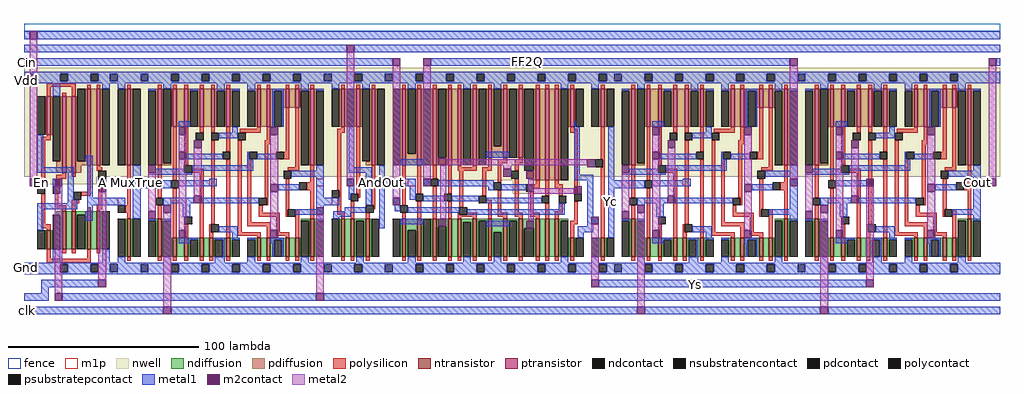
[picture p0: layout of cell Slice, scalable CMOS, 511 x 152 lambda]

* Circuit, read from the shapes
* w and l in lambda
.subckt Slice A AndOut B Cin Cout En FF1Q FF2Q Gnd MuxTrue Vdd Yc Ys clk
M1 Gnd En n1 Gnd nfet w=10 l=2
M2 n2 FF1Q Gnd Gnd nfet w=20 l=2
M3 n3 n1 n2 Gnd nfet w=20 l=2
M4 n4 En n3 Gnd nfet w=20 l=2
M5 Gnd A n4 Gnd nfet w=20 l=2
M6 MuxTrue n3 Gnd Gnd nfet w=20 l=2
M7 Gnd clk n5 Gnd nfet w=20 l=2
M8 n6 MuxTrue Gnd Gnd nfet w=10 l=2
M9 n7 clk n6 Gnd nfet w=10 l=2
M10 n8 n5 n7 Gnd nfet w=10 l=2
M11 Gnd n9 n8 Gnd nfet w=10 l=2
M12 n9 n7 Gnd Gnd nfet w=10 l=2
M13 n10 n9 Gnd Gnd nfet w=10 l=2
M14 n11 n5 n10 Gnd nfet w=10 l=2
M15 n12 clk n11 Gnd nfet w=10 l=2
M16 Gnd FF1Q n12 Gnd nfet w=10 l=2
M17 FF1Q n11 Gnd Gnd nfet w=20 l=2
M18 n13 FF1Q n14 Gnd nfet w=20 l=2
M19 Gnd B n13 Gnd nfet w=20 l=2
M20 AndOut n14 Gnd Gnd nfet w=20 l=2
M21 Gnd Cin n15 Gnd nfet w=20 l=2
M22 n15 AndOut Gnd Gnd nfet w=20 l=2
M23 n16 FF2Q n15 Gnd nfet w=20 l=2
M24 n17 AndOut n16 Gnd nfet w=20 l=2
M25 Gnd Cin n17 Gnd nfet w=20 l=2
M26 n18 Cin Gnd Gnd nfet w=20 l=2
M27 Gnd AndOut n18 Gnd nfet w=20 l=2
M28 n18 FF2Q Gnd Gnd nfet w=20 l=2
M29 n19 n16 n18 Gnd nfet w=20 l=2
M30 n20 FF2Q n19 Gnd nfet w=20 l=2
M31 n21 AndOut n20 Gnd nfet w=20 l=2
M32 Gnd Cin n21 Gnd nfet w=20 l=2
M33 Ys n19 Gnd Gnd nfet w=10 l=2
M34 Yc n16 Gnd Gnd nfet w=10 l=2
M35 Gnd clk n22 Gnd nfet w=20 l=2
M36 n23 Yc Gnd Gnd nfet w=10 l=2
M37 n24 clk n23 Gnd nfet w=10 l=2
M38 n25 n22 n24 Gnd nfet w=10 l=2
M39 Gnd n26 n25 Gnd nfet w=10 l=2
M40 n26 n24 Gnd Gnd nfet w=10 l=2
M41 n27 n26 Gnd Gnd nfet w=10 l=2
M42 n28 n22 n27 Gnd nfet w=10 l=2
M43 n29 clk n28 Gnd nfet w=10 l=2
M44 Gnd FF2Q n29 Gnd nfet w=10 l=2
M45 FF2Q n28 Gnd Gnd nfet w=20 l=2
M46 Gnd clk n30 Gnd nfet w=20 l=2
M47 n31 Ys Gnd Gnd nfet w=10 l=2
M48 n32 clk n31 Gnd nfet w=10 l=2
M49 n33 n30 n32 Gnd nfet w=10 l=2
M50 Gnd n34 n33 Gnd nfet w=10 l=2
M51 n34 n32 Gnd Gnd nfet w=10 l=2
M52 n35 n34 Gnd Gnd nfet w=10 l=2
M53 n36 n30 n35 Gnd nfet w=10 l=2
M54 n37 clk n36 Gnd nfet w=10 l=2
M55 Gnd Cout n37 Gnd nfet w=10 l=2
M56 Cout n36 Gnd Gnd nfet w=20 l=2
M57 Vdd En n1 Vdd pfet w=20 l=2
M58 n38 FF1Q Vdd Vdd pfet w=40 l=2
M59 n3 En n38 Vdd pfet w=40 l=2
M60 n39 n1 n3 Vdd pfet w=40 l=2
M61 Vdd A n39 Vdd pfet w=40 l=2
M62 MuxTrue n3 Vdd Vdd pfet w=40 l=2
M63 Vdd clk n5 Vdd pfet w=40 l=2
M64 n40 MuxTrue Vdd Vdd pfet w=20 l=2
M65 n7 n5 n40 Vdd pfet w=20 l=2
M66 n41 clk n7 Vdd pfet w=20 l=2
M67 Vdd n9 n41 Vdd pfet w=20 l=2
M68 n9 n7 Vdd Vdd pfet w=20 l=2
M69 n42 n9 Vdd Vdd pfet w=20 l=2
M70 n11 clk n42 Vdd pfet w=20 l=2
M71 n43 n5 n11 Vdd pfet w=10 l=2
M72 Vdd FF1Q n43 Vdd pfet w=10 l=2
M73 FF1Q n11 Vdd Vdd pfet w=40 l=2
M74 n14 FF1Q Vdd Vdd pfet w=20 l=2
M75 Vdd B n14 Vdd pfet w=20 l=2
M76 AndOut n14 Vdd Vdd pfet w=40 l=2
M77 Vdd Cin n44 Vdd pfet w=40 l=2
M78 n44 AndOut Vdd Vdd pfet w=40 l=2
M79 n16 FF2Q n44 Vdd pfet w=40 l=2
M80 n45 AndOut n16 Vdd pfet w=40 l=2
M81 Vdd Cin n45 Vdd pfet w=40 l=2
M82 n46 Cin Vdd Vdd pfet w=40 l=2
M83 Vdd AndOut n46 Vdd pfet w=36 l=2
M84 n46 FF2Q Vdd Vdd pfet w=36 l=2
M85 n19 n16 n46 Vdd pfet w=36 l=2
M86 n47 FF2Q n19 Vdd pfet w=48 l=2
M87 n48 AndOut n47 Vdd pfet w=48 l=2
M88 Vdd Cin n48 Vdd pfet w=48 l=2
M89 Ys n19 Vdd Vdd pfet w=20 l=2
M90 Yc n16 Vdd Vdd pfet w=20 l=2
M91 Vdd clk n22 Vdd pfet w=40 l=2
M92 n49 Yc Vdd Vdd pfet w=20 l=2
M93 n24 n22 n49 Vdd pfet w=20 l=2
M94 n50 clk n24 Vdd pfet w=20 l=2
M95 Vdd n26 n50 Vdd pfet w=20 l=2
M96 n26 n24 Vdd Vdd pfet w=20 l=2
M97 n51 n26 Vdd Vdd pfet w=20 l=2
M98 n28 clk n51 Vdd pfet w=20 l=2
M99 n52 n22 n28 Vdd pfet w=10 l=2
M100 Vdd FF2Q n52 Vdd pfet w=10 l=2
M101 FF2Q n28 Vdd Vdd pfet w=40 l=2
M102 Vdd clk n30 Vdd pfet w=40 l=2
M103 n53 Ys Vdd Vdd pfet w=20 l=2
M104 n32 n30 n53 Vdd pfet w=20 l=2
M105 n54 clk n32 Vdd pfet w=20 l=2
M106 Vdd n34 n54 Vdd pfet w=20 l=2
M107 n34 n32 Vdd Vdd pfet w=20 l=2
M108 n55 n34 Vdd Vdd pfet w=20 l=2
M109 n36 clk n55 Vdd pfet w=20 l=2
M110 n56 n30 n36 Vdd pfet w=10 l=2
M111 Vdd Cout n56 Vdd pfet w=10 l=2
M112 Cout n36 Vdd Vdd pfet w=40 l=2
.ends

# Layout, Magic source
magic
tech scmos
<< fence >>
rect -15 127 496 131
<< metal1 >>
rect -15 123 -12 127
rect -8 123 496 127
rect -15 116 154 120
rect 158 116 496 120
rect -15 109 178 113
rect 198 109 386 113
rect 494 109 496 113
rect -15 100 -12 106
rect 490 100 496 106
rect -8 46 -4 50
rect 0 46 1 50
rect 24 47 28 50
rect 42 49 46 50
rect 42 45 62 49
rect 170 46 186 50
rect 293 45 310 49
rect 482 46 490 50
rect 28 36 36 40
rect 139 36 148 40
rect 290 36 294 40
rect -15 0 -12 6
rect 490 0 496 6
rect -6 -7 24 -3
rect 286 -7 426 -3
rect -6 -10 -2 -7
rect -15 -14 -2 -10
rect 5 -14 138 -10
rect 142 -14 496 -10
rect -15 -21 58 -17
rect 62 -21 306 -17
rect 310 -21 402 -17
rect 406 -21 496 -17
<< m2contact >>
rect -12 123 -8 127
rect 154 116 158 120
rect 178 109 182 113
rect 194 109 198 113
rect 386 109 390 113
rect 490 109 494 113
rect -12 46 -8 50
rect 1 46 5 50
rect 24 43 28 47
rect 154 46 158 50
rect 194 46 198 50
rect 386 46 390 50
rect 426 46 430 50
rect 490 46 494 50
rect 178 36 182 40
rect 58 32 62 36
rect 138 31 142 35
rect 306 32 310 36
rect 402 32 406 36
rect 282 26 286 30
rect 24 -7 28 -3
rect 282 -7 286 -3
rect 426 -7 430 -3
rect 1 -14 5 -10
rect 138 -14 142 -10
rect 58 -21 62 -17
rect 306 -21 310 -17
rect 402 -21 406 -17
<< metal2 >>
rect -12 50 -8 123
rect 154 50 158 116
rect 1 -10 5 46
rect 24 -3 28 43
rect 178 40 182 109
rect 194 50 198 109
rect 386 50 390 109
rect 490 50 494 109
rect 58 -17 62 32
rect 138 -10 142 31
rect 282 -3 286 26
rect 306 -17 310 32
rect 402 -17 406 32
rect 426 -3 430 46
use DFFNEGX1  DFFNEGX1_2 ~/Documents/Project/StandardCells/IIT_LIB_Student-Version2/Cells/SRC
transform 1 0 392 0 1 3
box -8 -3 104 105
use DFFNEGX1  DFFNEGX1_1
transform 1 0 296 0 1 3
box -8 -3 104 105
use FAX1  FAX1_0 ~/Documents/Project/StandardCells/IIT_LIB_Student-Version2/Cells/SRC
transform 1 0 176 0 1 3
box -5 -3 126 105
use AND2X2  AND2X2_0
transform 1 0 144 0 1 3
box -8 -3 40 105
use DFFNEGX1  DFFNEGX1_0
transform 1 0 48 0 1 3
box -8 -3 104 105
use INVX2  INVX2_0
transform 1 0 32 0 1 3
box -9 -3 26 105
use MUX2X1  MUX2X1_0 ~/Documents/Project/StandardCells/IIT_LIB_Student-Version2/Cells/SRC
transform 1 0 -10 0 1 3
box -5 -3 53 105
<< labels >>
rlabel metal1 247 110 250 113 1 FF2Q
rlabel metal1 335 -7 338 -4 1 Ys
rlabel metal1 -15 109 -11 113 0 Cin
rlabel metal1 -15 116 -11 120 0 B
rlabel metal1 -8 46 -4 50 0 En
rlabel metal1 0 46 1 50 1 FF1Q
rlabel metal1 -15 2 -12 5 3 Gnd
rlabel metal1 -15 100 -12 103 3 Vdd
rlabel metal1 24 46 28 50 0 A
rlabel metal1 42 46 46 50 0 MuxTrue
rlabel metal1 -15 -21 -11 -17 0 clk
rlabel metal1 170 46 174 50 0 AndOut
rlabel metal1 290 36 294 40 0 Yc
rlabel metal1 482 46 486 50 0 Cout
<< end >>

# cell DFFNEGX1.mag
magic
tech scmos
<< nwell >>
rect -8 48 104 105
<< ntransistor >>
rect 7 6 9 26
rect 15 6 17 16
rect 21 6 23 16
rect 29 6 31 16
rect 34 6 36 16
rect 43 6 45 16
rect 59 6 61 16
rect 64 6 66 16
rect 74 6 76 16
rect 79 6 81 16
rect 87 6 89 26
<< ptransistor >>
rect 7 54 9 94
rect 15 74 17 94
rect 21 74 23 94
rect 29 74 31 94
rect 35 74 37 94
rect 43 74 45 94
rect 59 74 61 94
rect 64 74 66 94
rect 74 84 76 94
rect 79 84 81 94
rect 87 54 89 94
<< ndiffusion >>
rect 2 25 7 26
rect 6 6 7 25
rect 9 25 14 26
rect 9 6 10 25
rect 82 25 87 26
rect 14 6 15 16
rect 17 6 21 16
rect 23 15 29 16
rect 23 6 24 15
rect 28 6 29 15
rect 31 6 34 16
rect 36 15 43 16
rect 36 6 37 15
rect 41 6 43 15
rect 45 15 50 16
rect 45 6 46 15
rect 54 15 59 16
rect 58 6 59 15
rect 61 6 64 16
rect 66 15 74 16
rect 66 6 68 15
rect 72 6 74 15
rect 76 6 79 16
rect 81 6 82 16
rect 86 6 87 25
rect 89 25 94 26
rect 89 6 90 25
<< pdiffusion >>
rect 2 93 7 94
rect 6 54 7 93
rect 9 55 10 94
rect 14 74 15 94
rect 17 74 21 94
rect 23 93 29 94
rect 23 74 24 93
rect 28 74 29 93
rect 31 74 35 94
rect 37 93 43 94
rect 37 74 38 93
rect 42 74 43 93
rect 45 93 50 94
rect 45 74 46 93
rect 54 93 59 94
rect 58 74 59 93
rect 61 74 64 94
rect 66 93 74 94
rect 66 74 68 93
rect 72 84 74 93
rect 76 84 79 94
rect 81 93 87 94
rect 81 84 82 93
rect 72 74 73 84
rect 9 54 14 55
rect 86 54 87 93
rect 89 93 94 94
rect 89 54 90 93
<< ndcontact >>
rect 2 6 6 25
rect 10 6 14 25
rect 24 6 28 15
rect 37 6 41 15
rect 46 6 50 15
rect 54 6 58 15
rect 68 6 72 15
rect 82 6 86 25
rect 90 6 94 25
<< pdcontact >>
rect 2 54 6 93
rect 10 55 14 94
rect 24 74 28 93
rect 38 74 42 93
rect 46 74 50 93
rect 54 74 58 93
rect 68 74 72 93
rect 82 54 86 93
rect 90 54 94 93
<< psubstratepcontact >>
rect -2 -2 2 2
rect 14 -2 18 2
rect 30 -2 34 2
rect 46 -2 50 2
rect 62 -2 66 2
rect 78 -2 82 2
<< nsubstratencontact >>
rect -2 98 2 102
rect 14 98 18 102
rect 30 98 34 102
rect 46 98 50 102
rect 62 98 66 102
rect 78 98 82 102
<< polysilicon >>
rect 7 94 9 96
rect 15 94 17 96
rect 21 94 23 96
rect 29 94 31 96
rect 35 94 37 96
rect 43 94 45 96
rect 59 94 61 96
rect 64 94 66 96
rect 74 94 76 96
rect 79 94 81 96
rect 87 94 89 96
rect 7 37 9 54
rect 15 46 17 74
rect 21 54 23 74
rect 29 71 31 74
rect 35 71 37 74
rect 25 50 31 52
rect 7 26 9 33
rect 15 16 17 42
rect 21 16 23 23
rect 29 16 31 50
rect 35 23 37 67
rect 43 61 45 74
rect 59 73 61 74
rect 50 71 61 73
rect 34 19 35 23
rect 34 16 36 19
rect 43 16 45 57
rect 64 67 66 74
rect 49 19 51 67
rect 63 65 66 67
rect 54 57 55 60
rect 54 24 56 57
rect 63 37 65 65
rect 74 61 76 84
rect 73 57 76 61
rect 79 53 81 84
rect 75 51 81 53
rect 64 33 65 37
rect 60 29 62 33
rect 74 31 76 47
rect 87 45 89 54
rect 85 41 89 45
rect 60 27 71 29
rect 74 27 75 31
rect 54 22 66 24
rect 49 17 61 19
rect 59 16 61 17
rect 64 16 66 22
rect 69 19 71 27
rect 69 17 76 19
rect 74 16 76 17
rect 79 16 81 31
rect 87 26 89 41
rect 7 4 9 6
rect 15 4 17 6
rect 21 4 23 6
rect 29 4 31 6
rect 34 4 36 6
rect 43 4 45 6
rect 59 4 61 6
rect 64 4 66 6
rect 74 4 76 6
rect 79 4 81 6
rect 87 4 89 6
<< polycontact >>
rect 27 67 31 71
rect 35 67 39 71
rect 21 50 25 54
rect 14 42 18 46
rect 6 33 10 37
rect 21 23 25 27
rect 41 57 45 61
rect 35 19 39 23
rect 49 67 53 71
rect 55 57 59 61
rect 69 57 73 61
rect 73 47 77 51
rect 60 33 64 37
rect 81 41 85 45
rect 75 27 79 31
<< metal1 >>
rect -2 102 98 103
rect 2 98 14 102
rect 18 98 30 102
rect 34 98 46 102
rect 50 98 62 102
rect 66 98 78 102
rect 82 98 98 102
rect -2 97 98 98
rect 10 94 14 97
rect 2 93 6 94
rect 24 93 28 94
rect 18 74 24 77
rect 38 93 42 97
rect 46 93 50 94
rect 54 93 58 97
rect 67 93 73 94
rect 67 74 68 93
rect 72 74 73 93
rect 82 93 86 97
rect 46 71 49 74
rect 39 68 49 71
rect 22 57 41 60
rect 54 57 55 61
rect 59 57 69 60
rect 54 54 57 57
rect 90 93 94 94
rect 6 50 21 52
rect 25 51 57 54
rect 90 51 94 54
rect 2 49 25 50
rect 77 48 94 51
rect 34 46 38 47
rect 18 43 38 46
rect 70 41 81 44
rect 10 34 26 37
rect 30 34 60 37
rect 10 33 14 34
rect 20 27 24 34
rect 90 31 94 48
rect 79 28 94 31
rect 2 25 6 26
rect 10 25 14 26
rect 90 25 94 28
rect 39 19 49 22
rect 46 16 49 19
rect 18 15 28 16
rect 18 13 24 15
rect 37 15 42 16
rect 41 6 42 15
rect 46 15 50 16
rect 54 15 58 16
rect 66 15 73 16
rect 66 13 68 15
rect 67 6 68 13
rect 72 6 73 15
rect 10 3 14 6
rect 37 3 42 6
rect 54 3 58 6
rect 82 3 86 6
rect -2 2 98 3
rect 2 -2 14 2
rect 18 -2 30 2
rect 34 -2 46 2
rect 50 -2 62 2
rect 66 -2 78 2
rect 82 -2 98 2
rect -2 -3 98 -2
<< m2contact >>
rect 18 70 22 74
rect 66 70 70 74
rect 26 63 30 67
rect 18 57 22 61
rect 2 50 6 54
rect 66 40 70 44
rect 26 34 30 38
rect 2 26 6 30
rect 18 16 22 20
rect 66 16 70 20
<< metal2 >>
rect 18 61 22 70
rect 18 54 22 57
rect 2 30 6 50
rect 18 50 21 54
rect 18 20 22 50
rect 26 38 30 63
rect 66 61 70 70
rect 66 57 69 61
rect 66 44 70 57
rect 66 20 70 40
<< m1p >>
rect 34 43 38 47
rect 90 43 94 47
rect 10 33 14 37
<< end >>

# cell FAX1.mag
magic
tech scmos
<< nwell >>
rect -5 48 126 105
rect 23 46 100 48
rect 65 39 100 46
<< ntransistor >>
rect 7 6 9 26
rect 15 6 17 26
rect 23 6 25 26
rect 31 6 33 26
rect 36 6 38 26
rect 44 6 46 26
rect 52 6 54 26
rect 60 6 62 26
rect 68 6 70 26
rect 77 6 79 26
rect 82 6 84 26
rect 87 6 89 26
rect 95 6 97 16
rect 111 6 113 16
<< ptransistor >>
rect 7 54 9 94
rect 15 54 17 94
rect 23 54 25 94
rect 31 54 33 94
rect 36 54 38 94
rect 44 54 46 94
rect 52 58 54 94
rect 60 58 62 94
rect 68 58 70 94
rect 77 46 79 94
rect 82 46 84 94
rect 87 46 89 94
rect 95 74 97 94
rect 111 74 113 94
<< ndiffusion >>
rect 6 6 7 26
rect 9 20 15 26
rect 9 6 10 20
rect 14 6 15 20
rect 17 6 18 26
rect 22 6 23 26
rect 25 22 31 26
rect 25 6 26 22
rect 30 6 31 22
rect 33 6 36 26
rect 38 24 44 26
rect 38 6 39 24
rect 43 6 44 24
rect 46 25 52 26
rect 46 6 47 25
rect 51 6 52 25
rect 54 19 60 26
rect 54 6 55 19
rect 59 6 60 19
rect 62 25 68 26
rect 62 6 63 25
rect 67 6 68 25
rect 70 21 77 26
rect 70 6 71 21
rect 76 6 77 21
rect 79 6 82 26
rect 84 6 87 26
rect 89 25 94 26
rect 89 6 90 25
rect 94 6 95 16
rect 97 6 98 16
rect 110 6 111 16
rect 113 6 114 16
<< pdiffusion >>
rect 6 54 7 94
rect 9 60 10 94
rect 14 60 15 94
rect 9 54 15 60
rect 17 54 18 94
rect 22 54 23 94
rect 25 58 26 94
rect 30 58 31 94
rect 25 54 31 58
rect 33 54 36 94
rect 38 54 39 94
rect 43 54 44 94
rect 46 54 47 94
rect 51 58 52 94
rect 54 64 55 94
rect 59 64 60 94
rect 54 58 60 64
rect 62 58 63 94
rect 67 58 68 94
rect 70 58 71 94
rect 76 51 77 94
rect 72 47 77 51
rect 74 46 77 47
rect 79 46 82 94
rect 84 46 87 94
rect 89 46 90 94
rect 94 74 95 94
rect 97 74 98 94
rect 110 74 111 94
rect 113 74 114 94
<< ndcontact >>
rect 2 6 6 26
rect 10 6 14 20
rect 18 6 22 26
rect 26 6 30 22
rect 39 6 43 24
rect 47 6 51 25
rect 55 6 59 19
rect 63 6 67 25
rect 71 6 76 21
rect 90 6 94 25
rect 98 6 102 16
rect 106 6 110 16
rect 114 6 118 16
<< pdcontact >>
rect 2 54 6 94
rect 10 60 14 94
rect 18 54 22 94
rect 26 58 30 94
rect 39 54 43 94
rect 47 54 51 94
rect 55 64 59 94
rect 63 58 67 94
rect 71 51 76 94
rect 90 46 94 94
rect 98 74 102 94
rect 106 74 110 94
rect 114 74 118 94
<< psubstratepcontact >>
rect -2 -2 2 2
rect 14 -2 18 2
rect 30 -2 34 2
rect 46 -2 50 2
rect 62 -2 66 2
rect 78 -2 82 2
rect 94 -2 98 2
rect 110 -2 114 2
<< nsubstratencontact >>
rect -2 98 2 102
rect 14 98 18 102
rect 30 98 34 102
rect 46 98 50 102
rect 62 98 66 102
rect 78 98 82 102
rect 94 98 98 102
rect 110 98 114 102
<< polysilicon >>
rect 7 94 9 96
rect 15 94 17 96
rect 23 94 25 96
rect 31 94 33 96
rect 36 94 38 96
rect 44 94 46 96
rect 52 94 54 96
rect 60 94 62 96
rect 68 94 70 96
rect 77 94 79 96
rect 82 94 84 96
rect 87 94 89 96
rect 95 94 97 96
rect 111 94 113 96
rect 7 33 9 54
rect 15 39 17 54
rect 23 47 25 54
rect 7 26 9 29
rect 15 26 17 35
rect 23 26 25 43
rect 31 39 33 54
rect 36 53 38 54
rect 44 53 46 54
rect 52 53 54 58
rect 60 57 62 58
rect 68 57 70 58
rect 36 51 46 53
rect 49 51 54 53
rect 57 55 62 57
rect 66 55 70 57
rect 31 26 33 35
rect 37 32 39 51
rect 49 38 51 51
rect 57 45 59 55
rect 66 51 68 55
rect 51 34 54 36
rect 36 28 37 29
rect 41 28 46 29
rect 36 27 46 28
rect 36 26 38 27
rect 44 26 46 27
rect 52 26 54 34
rect 57 29 59 41
rect 66 29 68 47
rect 95 73 97 74
rect 95 71 99 73
rect 77 44 79 46
rect 76 42 79 44
rect 74 29 76 40
rect 82 38 84 46
rect 87 44 89 46
rect 87 42 91 44
rect 57 27 62 29
rect 66 27 70 29
rect 74 27 79 29
rect 60 26 62 27
rect 68 26 70 27
rect 77 26 79 27
rect 82 26 84 34
rect 89 38 91 42
rect 97 39 99 71
rect 111 57 113 74
rect 112 53 113 57
rect 89 30 91 34
rect 87 28 91 30
rect 87 26 89 28
rect 97 25 99 35
rect 95 23 99 25
rect 95 16 97 23
rect 111 16 113 53
rect 7 4 9 6
rect 15 4 17 6
rect 23 4 25 6
rect 31 4 33 6
rect 36 4 38 6
rect 44 4 46 6
rect 52 4 54 6
rect 60 4 62 6
rect 68 4 70 6
rect 77 4 79 6
rect 82 4 84 6
rect 87 4 89 6
rect 95 4 97 6
rect 111 4 113 6
<< polycontact >>
rect 22 43 26 47
rect 14 35 18 39
rect 6 29 10 33
rect 29 35 33 39
rect 64 47 68 51
rect 55 41 59 45
rect 47 34 51 38
rect 37 28 41 32
rect 72 40 76 44
rect 80 34 84 38
rect 108 53 112 57
rect 89 34 93 38
rect 97 35 101 39
<< metal1 >>
rect -2 102 122 103
rect 2 98 14 102
rect 18 98 30 102
rect 34 98 46 102
rect 50 98 62 102
rect 66 98 78 102
rect 82 98 94 102
rect 98 98 110 102
rect 114 98 122 102
rect -2 97 122 98
rect 10 94 14 97
rect 39 94 43 97
rect 55 94 59 97
rect 90 94 94 97
rect 106 94 110 97
rect 6 54 18 57
rect 51 58 63 61
rect 10 43 14 47
rect 18 43 22 47
rect 97 74 98 77
rect 97 49 100 74
rect 97 46 107 49
rect 26 43 55 46
rect 2 33 6 37
rect 11 36 14 43
rect 52 41 55 43
rect 59 41 72 44
rect 18 35 29 38
rect 33 35 47 38
rect 51 34 80 37
rect 3 30 6 33
rect 10 29 37 32
rect 89 31 92 34
rect 41 28 92 31
rect 104 27 107 46
rect 115 37 118 74
rect 114 33 118 37
rect 6 23 18 26
rect 51 22 63 25
rect 104 23 110 27
rect 104 22 107 23
rect 99 19 107 22
rect 99 16 102 19
rect 115 16 118 33
rect 10 3 14 6
rect 39 3 43 6
rect 55 3 59 6
rect 90 3 94 6
rect 106 3 110 6
rect -2 2 122 3
rect 2 -2 14 2
rect 18 -2 30 2
rect 34 -2 46 2
rect 50 -2 62 2
rect 66 -2 78 2
rect 82 -2 94 2
rect 98 -2 110 2
rect 114 -2 122 2
rect -2 -3 122 -2
<< m2contact >>
rect 26 54 30 58
rect 60 48 64 52
rect 72 47 76 51
rect 104 53 108 57
rect 97 39 101 43
rect 26 22 30 26
rect 72 21 76 25
<< metal2 >>
rect 30 54 104 57
rect 27 26 30 54
rect 60 52 64 54
rect 73 42 76 47
rect 73 39 97 42
rect 73 25 76 39
<< m1p >>
rect 10 43 14 47
rect 18 43 22 47
rect 2 33 6 37
rect 114 33 118 37
rect 106 23 110 27
<< end >>

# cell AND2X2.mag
magic
tech scmos
<< nwell >>
rect -8 48 40 105
<< ntransistor >>
rect 7 6 9 26
rect 12 6 14 26
rect 20 6 22 26
<< ptransistor >>
rect 7 74 9 94
rect 15 74 17 94
rect 23 54 25 94
<< ndiffusion >>
rect 6 6 7 26
rect 9 6 12 26
rect 14 25 20 26
rect 14 6 15 25
rect 19 6 20 25
rect 22 6 23 26
<< pdiffusion >>
rect 6 74 7 94
rect 9 74 10 94
rect 14 74 15 94
rect 17 74 18 94
rect 22 56 23 94
rect 20 54 23 56
rect 25 54 26 94
<< ndcontact >>
rect 2 6 6 26
rect 15 6 19 25
rect 23 6 27 26
<< pdcontact >>
rect 2 74 6 94
rect 10 74 14 94
rect 18 56 22 94
rect 26 54 30 94
<< psubstratepcontact >>
rect -2 -2 2 2
rect 14 -2 18 2
<< nsubstratencontact >>
rect -2 98 2 102
rect 14 98 18 102
<< polysilicon >>
rect 7 94 9 96
rect 15 94 17 96
rect 23 94 25 96
rect 7 73 9 74
rect 5 71 9 73
rect 5 41 7 71
rect 6 37 7 41
rect 15 39 17 74
rect 5 30 7 37
rect 16 37 17 39
rect 5 28 9 30
rect 7 26 9 28
rect 12 26 14 35
rect 23 33 25 54
rect 24 31 25 33
rect 20 26 22 29
rect 7 4 9 6
rect 12 4 14 6
rect 20 4 22 6
<< polycontact >>
rect 2 37 6 41
rect 12 35 16 39
rect 20 29 24 33
<< metal1 >>
rect -2 102 34 103
rect 2 98 14 102
rect 18 98 34 102
rect -2 97 34 98
rect 2 94 6 97
rect 18 94 22 97
rect 11 53 14 74
rect 11 50 23 53
rect 10 43 14 47
rect 2 33 6 37
rect 11 39 14 43
rect 11 36 12 39
rect 20 33 23 50
rect 9 30 20 32
rect 3 29 20 30
rect 3 27 12 29
rect 3 26 6 27
rect 27 21 30 54
rect 15 3 19 6
rect -2 2 34 3
rect 2 -2 14 2
rect 18 -2 34 2
rect -2 -3 34 -2
<< m1p >>
rect 10 43 14 47
rect 26 43 30 47
rect 2 33 6 37
<< end >>

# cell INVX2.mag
magic
tech scmos
<< nwell >>
rect -9 48 26 105
<< ntransistor >>
rect 7 6 9 26
<< ptransistor >>
rect 7 54 9 94
<< ndiffusion >>
rect 6 6 7 26
rect 9 6 10 26
<< pdiffusion >>
rect 6 54 7 94
rect 9 54 10 94
<< ndcontact >>
rect 2 6 6 26
rect 10 6 14 26
<< pdcontact >>
rect 2 54 6 94
rect 10 54 14 94
<< psubstratepcontact >>
rect -2 -2 2 2
<< nsubstratencontact >>
rect -2 98 2 102
<< polysilicon >>
rect 7 94 9 96
rect 7 33 9 54
rect 6 29 9 33
rect 7 26 9 29
rect 7 4 9 6
<< polycontact >>
rect 2 29 6 33
<< metal1 >>
rect -2 102 18 103
rect 2 98 18 102
rect -2 97 18 98
rect 2 94 6 97
rect 2 33 6 37
rect 10 26 14 54
rect 2 3 6 6
rect -2 2 18 3
rect 2 -2 18 2
rect -2 -3 18 -2
<< m1p >>
rect 10 43 14 47
rect 2 33 6 37
<< end >>

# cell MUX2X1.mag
magic
tech scmos
<< nwell >>
rect -5 48 53 105
rect 6 44 33 48
<< ntransistor >>
rect 7 10 9 20
rect 15 10 17 30
rect 20 10 22 30
rect 28 10 30 30
rect 33 10 35 30
<< ptransistor >>
rect 7 70 9 90
rect 15 50 17 90
rect 20 50 22 90
rect 28 54 30 94
rect 33 54 35 94
<< ndiffusion >>
rect 12 28 15 30
rect 6 10 7 20
rect 9 10 10 20
rect 14 10 15 28
rect 17 10 20 30
rect 22 28 28 30
rect 22 10 23 28
rect 27 10 28 28
rect 30 10 33 30
rect 35 10 36 30
<< pdiffusion >>
rect 6 70 7 90
rect 9 70 10 90
rect 14 56 15 90
rect 12 50 15 56
rect 17 50 20 90
rect 22 56 23 90
rect 27 56 28 94
rect 22 54 28 56
rect 30 54 33 94
rect 35 54 36 94
rect 22 50 25 54
<< ndcontact >>
rect 2 10 6 20
rect 10 10 14 28
rect 23 10 27 28
rect 36 10 40 30
<< pdcontact >>
rect 2 70 6 90
rect 10 56 14 90
rect 23 56 27 94
rect 36 54 40 94
<< psubstratepcontact >>
rect -2 -2 2 2
rect 14 -2 18 2
rect 30 -2 34 2
<< nsubstratencontact >>
rect -2 98 2 102
rect 14 98 18 102
rect 30 98 34 102
<< polysilicon >>
rect 7 95 22 97
rect 7 90 9 95
rect 15 90 17 92
rect 20 90 22 95
rect 28 94 30 96
rect 33 94 35 96
rect 7 69 9 70
rect 4 67 9 69
rect 4 43 6 67
rect 15 49 17 50
rect 12 47 17 49
rect 20 48 22 50
rect 12 43 14 47
rect 28 40 30 54
rect 33 53 35 54
rect 33 51 36 53
rect 4 23 6 39
rect 11 33 13 39
rect 25 38 30 40
rect 20 34 24 36
rect 11 31 17 33
rect 15 30 17 31
rect 20 30 22 34
rect 34 33 36 47
rect 28 30 30 32
rect 33 31 36 33
rect 33 30 35 31
rect 4 21 9 23
rect 7 20 9 21
rect 7 5 9 10
rect 15 8 17 10
rect 20 8 22 10
rect 28 5 30 10
rect 33 8 35 10
rect 7 3 30 5
<< polycontact >>
rect 2 39 6 43
rect 10 39 14 43
rect 21 36 25 40
rect 34 47 38 51
<< metal1 >>
rect -2 102 50 103
rect 2 98 14 102
rect 18 98 30 102
rect 34 98 50 102
rect -2 97 50 98
rect 10 90 14 97
rect 36 94 40 97
rect 2 53 5 70
rect 27 56 31 59
rect 2 50 21 53
rect 2 43 6 47
rect 10 43 14 47
rect 18 36 21 50
rect 28 37 31 56
rect 34 43 38 47
rect 18 34 23 36
rect 2 31 23 34
rect 28 33 38 37
rect 2 20 5 31
rect 28 30 31 33
rect 27 25 31 30
rect 10 3 14 10
rect 36 3 40 10
rect -2 2 50 3
rect 2 -2 14 2
rect 18 -2 30 2
rect 34 -2 50 2
rect -2 -3 50 -2
<< m1p >>
rect 2 43 6 47
rect 10 43 14 47
rect 34 43 38 47
rect 34 33 38 37
<< end >>
